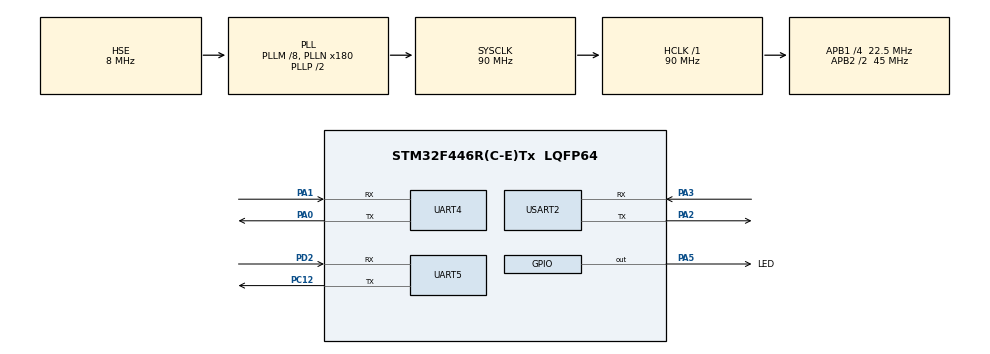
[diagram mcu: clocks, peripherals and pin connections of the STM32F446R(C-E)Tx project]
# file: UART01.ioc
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Dma.Request0=UART4_RX
Dma.Request1=UART5_TX
Dma.UART4_RX.0.Direction=DMA_PERIPH_TO_MEMORY
Dma.UART4_RX.0.FIFOMode=DMA_FIFOMODE_DISABLE
Dma.UART4_RX.0.Instance=DMA1_Stream2
Dma.UART4_RX.0.MemDataAlignment=DMA_MDATAALIGN_BYTE
Dma.UART4_RX.0.MemInc=DMA_MINC_ENABLE
Dma.UART4_RX.0.Mode=DMA_CIRCULAR
Dma.UART4_RX.0.PeriphDataAlignment=DMA_PDATAALIGN_BYTE
Dma.UART4_RX.0.PeriphInc=DMA_PINC_DISABLE
Dma.UART4_RX.0.Priority=DMA_PRIORITY_LOW
Dma.UART5_TX.1.Direction=DMA_MEMORY_TO_PERIPH
Dma.UART5_TX.1.FIFOMode=DMA_FIFOMODE_DISABLE
Dma.UART5_TX.1.Instance=DMA1_Stream7
Dma.UART5_TX.1.MemDataAlignment=DMA_MDATAALIGN_BYTE
Dma.UART5_TX.1.MemInc=DMA_MINC_ENABLE
Dma.UART5_TX.1.Mode=DMA_CIRCULAR
Dma.UART5_TX.1.PeriphDataAlignment=DMA_PDATAALIGN_BYTE
Dma.UART5_TX.1.PeriphInc=DMA_PINC_DISABLE
Dma.UART5_TX.1.Priority=DMA_PRIORITY_LOW
Mcu.Family=STM32F4
Mcu.Name=STM32F446R(C-E)Tx
Mcu.Package=LQFP64
NVIC.DMA1_Stream2_IRQn=true\:0\:0\:false\:false\:true\:false\:true\:true
NVIC.DMA1_Stream7_IRQn=true\:0\:0\:false\:false\:true\:false\:true\:true
NVIC.PriorityGroup=NVIC_PRIORITYGROUP_4
NVIC.TIM6_DAC_IRQn=true\:0\:0\:false\:false\:true\:true\:true\:true
NVIC.UART4_IRQn=true\:0\:0\:false\:false\:true\:true\:true\:true
NVIC.UART5_IRQn=true\:0\:0\:false\:false\:true\:false\:true\:true
PA0-WKUP.Mode=Asynchronous
PA0-WKUP.Signal=UART4_TX
PA1.Mode=Asynchronous
PA1.Signal=UART4_RX
PA13.Mode=Serial_Wire
PA13.Signal=SYS_JTMS-SWDIO
PA14.Mode=Serial_Wire
PA14.Signal=SYS_JTCK-SWCLK
PA2.Mode=Asynchronous
PA2.Signal=USART2_TX
PA3.Mode=Asynchronous
PA3.Signal=USART2_RX
PA5.GPIO_Label=LED
PA5.Signal=GPIO_Output
PC12.Mode=Asynchronous
PC12.Signal=UART5_TX
PD2.Mode=Asynchronous
PD2.Signal=UART5_RX
PH0-OSC_IN.Mode=HSE-External-Clock-Source
PH0-OSC_IN.Signal=RCC_OSC_IN
PH1-OSC_OUT.Mode=HSE-External-Clock-Source
PH1-OSC_OUT.Signal=RCC_OSC_OUT
ProjectManager.HeapSize=0x200
ProjectManager.StackSize=0x400
ProjectManager.TargetToolchain=STM32CubeIDE
RCC.AHBFreq_Value=90000000
RCC.APB1CLKDivider=RCC_HCLK_DIV4
RCC.APB1Freq_Value=22500000
RCC.APB1TimFreq_Value=45000000
RCC.APB2CLKDivider=RCC_HCLK_DIV2
RCC.APB2Freq_Value=45000000
RCC.APB2TimFreq_Value=90000000
RCC.CortexFreq_Value=90000000
RCC.HCLKFreq_Value=90000000
RCC.HSE_VALUE=8000000
RCC.PLLM=8
RCC.PLLN=180
RCC.PLLSourceVirtual=RCC_PLLSOURCE_HSE
RCC.SYSCLKFreq_VALUE=90000000
RCC.SYSCLKSource=RCC_SYSCLKSOURCE_PLLCLK
RCC.USBFreq_Value=90000000
RCC.VCOOutputFreq_Value=180000000
TIM6.Period=30000-1
TIM6.Prescaler=45-1
UART4.VirtualMode=Asynchronous
UART5.VirtualMode=Asynchronous
USART2.VirtualMode=VM_ASYNC
VP_TIM6_VS_ClockSourceINT.Mode=Enable_Timer
board=custom

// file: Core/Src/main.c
/* USER CODE BEGIN Header */
/**
 ******************************************************************************
 * @file           : main.c
 * @brief          : Main program body
 ******************************************************************************
 * @attention
 *
 * Copyright (c) 2026 STMicroelectronics.
 * All rights reserved.
 *
 * This software is licensed under terms that can be found in the LICENSE file
 * in the root directory of this software component.
 * If no LICENSE file comes with this software, it is provided AS-IS.
 *
 ******************************************************************************
 */

// UART2 is used for the write function
// We send data on UART 5 and receive it on UART4.
// The transmit wire of UART5 (PC12) is connected to the receive wire of UART4 (PA1).
/* USER CODE END Header */
#include "main.h"

/* USER CODE BEGIN Includes */
#include <stdio.h>
#include <string.h>
/* USER CODE END Includes */

/* USER CODE BEGIN PD */
#define BUFFER_SIZE 64
/* USER CODE END PD */

TIM_HandleTypeDef htim6;

UART_HandleTypeDef huart4;
UART_HandleTypeDef huart5;
UART_HandleTypeDef huart2;
DMA_HandleTypeDef hdma_uart4_rx;
DMA_HandleTypeDef hdma_uart5_tx;

/* USER CODE BEGIN PV */
char transmit_buffer[BUFFER_SIZE];
char receive_buffer[BUFFER_SIZE];
uint8_t dma_buffer[BUFFER_SIZE];
/* USER CODE END PV */

void SystemClock_Config(void);
static void MX_GPIO_Init(void);
static void MX_DMA_Init(void);
static void MX_USART2_UART_Init(void);
static void MX_UART4_Init(void);
static void MX_UART5_Init(void);
static void MX_TIM6_Init(void);

/* USER CODE BEGIN 0 */
int _write(int file, char *ptr, int len)
{
	if (file == 1)
	{
		HAL_StatusTypeDef hstatus = HAL_UART_Transmit(&huart2, (uint8_t*) ptr, len, HAL_MAX_DELAY);

		if (hstatus == HAL_OK)
		{
			return len;
		}

		return -1;
	}
	else if (file == 2)
	{
		for (int i = 0; i < len; i++)
		{
			// This can be used when debugging
			ITM_SendChar(ptr[i]);
		}
		return len;
	}
	else
	{
		return -1;
	}
}

void HAL_TIM_PeriodElapsedCallback(TIM_HandleTypeDef *htim)
{
	if (htim->Instance == TIM6)
	{
		HAL_GPIO_WritePin(LED_GPIO_Port, LED_Pin, GPIO_PIN_SET); // Turn off LED

		HAL_TIM_Base_Stop(&htim6); // Kill the timer
	}
}

void led_flash()
{
	HAL_GPIO_WritePin(LED_GPIO_Port, LED_Pin, GPIO_PIN_RESET); // Turn on LED

	if (__HAL_TIM_GET_COUNTER(&htim6) == 1)
	{
		HAL_TIM_Base_Start_IT(&htim6); // Start Counter. The IT means it will trigger an Interrupt.
	}
	else
	{ // Timer is already running
		__HAL_TIM_SET_COUNTER(&htim6, 1);
	}
}

void process_character(char ch)
{
	static uint32_t strlen = 0;

	switch (ch)
	{
	case '\0':
		printf("Received    :%s\r\n", receive_buffer);
		receive_buffer[0] = '\0';
		strlen = 0;
		break;
	default:
		if (strlen < BUFFER_SIZE)
		{
			strncat((char*) &receive_buffer, &ch, 1); // Danger
			++strlen;
		}
	}
}

void HAL_UARTEx_RxEventCallback(UART_HandleTypeDef *huart, uint16_t offset)
{
	static uint16_t last_offset = 0; // Declared once and set to 0. Next time we enter this function, we will read the value, but not reset it to 0. In c# we cannot declare a variable as static in a function.

	if (huart->Instance == UART4)
	{

		led_flash();
		//printf("Offset: %d\r\n", offset);

		// Ignore if called 2x-happens every half buffer
		if (offset != last_offset)
		{
			// of wrap around reset last_size
			if (offset < last_offset)
			{
				last_offset = 0;
			}

			while (last_offset < offset)
			{
				process_character((char) dma_buffer[last_offset]);
				++last_offset;
			}
		}
	}
}

void HAL_UART_ErrorCallback(UART_HandleTypeDef *huart)
{
	printf("UART Error\r\n");
	Error_Handler();
}

/* USER CODE END 0 */

int main(void)
{

  /* MCU Configuration--------------------------------------------------------*/

  /* Reset of all peripherals, Initializes the Flash interface and the Systick. */
  HAL_Init();

  /* Configure the system clock */
  SystemClock_Config();

  /* Initialize all configured peripherals */
  MX_GPIO_Init();
  MX_DMA_Init();
  MX_USART2_UART_Init();
  MX_UART4_Init();
  MX_UART5_Init();
  MX_TIM6_Init();
  /* USER CODE BEGIN 2 */

	// FYI: printf() always prints to file descriptor 1, which is the standard output.
	printf("\r\n\r\n\r\nStarting UART01...\r\n");

	// fprintf() on the other hand lets you choose the file descriptor
	// This line is exactly the same as the printf above
	fprintf(stdout, "-----------------------------------\r\n");

	// We could also send it to stderror
	fprintf(stderr, "\r\nNot Actually an Error\r\n");

	HAL_UARTEx_ReceiveToIdle_DMA(&huart4, (uint8_t*) &dma_buffer, BUFFER_SIZE);
  /* USER CODE END 2 */

  /* Infinite loop */
  /* USER CODE BEGIN WHILE */

	uint32_t now = 0;
	uint32_t loop_cnt = 0;
	uint32_t next_blink = 500;
	uint32_t next_tick = 1000;
	uint32_t next_tx = 1000;
	uint32_t tx_cnt = 1;

	while (1)
	{
		now = uwTick; // number of milliseconds since power on or reset

		if (now >= next_blink)
		{
			//HAL_GPIO_TogglePin(LED_GPIO_Port, LED_Pin);

			next_blink = now + 500;

		}

		if (now >= next_tick)
		{
			printf("Tick: %lu (Loop Count: %lu)\r\n", now / 1000, loop_cnt);
			//fprintf(stderr, "Tick: %lu (Loop Count: %lu)\r\n", now / 1000, loop_cnt);

			loop_cnt = 0;

			next_tick = now + 1000;
		}

		if (now >= next_tx)
		{
			sprintf(transmit_buffer, "This is a long string with a number %lu", tx_cnt);

			printf("Transmitting: %s\r\n", transmit_buffer);

			HAL_UART_Transmit(&huart5, (uint8_t*) &transmit_buffer, strlen(transmit_buffer) + 1, HAL_MAX_DELAY);

			++tx_cnt;
			next_tx = now + 1000;
		}

		++loop_cnt;

    /* USER CODE END WHILE */

	}
}

void SystemClock_Config(void)
{
  RCC_OscInitTypeDef RCC_OscInitStruct = {0};
  RCC_ClkInitTypeDef RCC_ClkInitStruct = {0};

  /** Configure the main internal regulator output voltage
  */
  __HAL_RCC_PWR_CLK_ENABLE();
  __HAL_PWR_VOLTAGESCALING_CONFIG(PWR_REGULATOR_VOLTAGE_SCALE3);

  /** Initializes the RCC Oscillators according to the specified parameters
  * in the RCC_OscInitTypeDef structure.
  */
  RCC_OscInitStruct.OscillatorType = RCC_OSCILLATORTYPE_HSE;
  RCC_OscInitStruct.HSEState = RCC_HSE_BYPASS;
  RCC_OscInitStruct.PLL.PLLState = RCC_PLL_ON;
  RCC_OscInitStruct.PLL.PLLSource = RCC_PLLSOURCE_HSE;
  RCC_OscInitStruct.PLL.PLLM = 8;
  RCC_OscInitStruct.PLL.PLLN = 180;
  RCC_OscInitStruct.PLL.PLLP = RCC_PLLP_DIV2;
  RCC_OscInitStruct.PLL.PLLQ = 2;
  RCC_OscInitStruct.PLL.PLLR = 2;
  if (HAL_RCC_OscConfig(&RCC_OscInitStruct) != HAL_OK)
  {
    Error_Handler();
  }

  /** Initializes the CPU, AHB and APB buses clocks
  */
  RCC_ClkInitStruct.ClockType = RCC_CLOCKTYPE_HCLK|RCC_CLOCKTYPE_SYSCLK
                              |RCC_CLOCKTYPE_PCLK1|RCC_CLOCKTYPE_PCLK2;
  RCC_ClkInitStruct.SYSCLKSource = RCC_SYSCLKSOURCE_PLLCLK;
  RCC_ClkInitStruct.AHBCLKDivider = RCC_SYSCLK_DIV1;
  RCC_ClkInitStruct.APB1CLKDivider = RCC_HCLK_DIV4;
  RCC_ClkInitStruct.APB2CLKDivider = RCC_HCLK_DIV2;

  if (HAL_RCC_ClockConfig(&RCC_ClkInitStruct, FLASH_LATENCY_2) != HAL_OK)
  {
    Error_Handler();
  }
}

static void MX_TIM6_Init(void)
{

  TIM_MasterConfigTypeDef sMasterConfig = {0};

  htim6.Instance = TIM6;
  htim6.Init.Prescaler = 45-1;
  htim6.Init.CounterMode = TIM_COUNTERMODE_UP;
  htim6.Init.Period = 30000-1;
  htim6.Init.AutoReloadPreload = TIM_AUTORELOAD_PRELOAD_DISABLE;
  if (HAL_TIM_Base_Init(&htim6) != HAL_OK)
  {
    Error_Handler();
  }
  sMasterConfig.MasterOutputTrigger = TIM_TRGO_RESET;
  sMasterConfig.MasterSlaveMode = TIM_MASTERSLAVEMODE_DISABLE;
  if (HAL_TIMEx_MasterConfigSynchronization(&htim6, &sMasterConfig) != HAL_OK)
  {
    Error_Handler();
  }

}

static void MX_UART4_Init(void)
{

  huart4.Instance = UART4;
  huart4.Init.BaudRate = 115200;
  huart4.Init.WordLength = UART_WORDLENGTH_8B;
  huart4.Init.StopBits = UART_STOPBITS_1;
  huart4.Init.Parity = UART_PARITY_NONE;
  huart4.Init.Mode = UART_MODE_TX_RX;
  huart4.Init.HwFlowCtl = UART_HWCONTROL_NONE;
  huart4.Init.OverSampling = UART_OVERSAMPLING_16;
  if (HAL_UART_Init(&huart4) != HAL_OK)
  {
    Error_Handler();
  }

}

static void MX_UART5_Init(void)
{

  huart5.Instance = UART5;
  huart5.Init.BaudRate = 115200;
  huart5.Init.WordLength = UART_WORDLENGTH_8B;
  huart5.Init.StopBits = UART_STOPBITS_1;
  huart5.Init.Parity = UART_PARITY_NONE;
  huart5.Init.Mode = UART_MODE_TX_RX;
  huart5.Init.HwFlowCtl = UART_HWCONTROL_NONE;
  huart5.Init.OverSampling = UART_OVERSAMPLING_16;
  if (HAL_UART_Init(&huart5) != HAL_OK)
  {
    Error_Handler();
  }

}

static void MX_USART2_UART_Init(void)
{

  huart2.Instance = USART2;
  huart2.Init.BaudRate = 115200;
  huart2.Init.WordLength = UART_WORDLENGTH_8B;
  huart2.Init.StopBits = UART_STOPBITS_1;
  huart2.Init.Parity = UART_PARITY_NONE;
  huart2.Init.Mode = UART_MODE_TX_RX;
  huart2.Init.HwFlowCtl = UART_HWCONTROL_NONE;
  huart2.Init.OverSampling = UART_OVERSAMPLING_16;
  if (HAL_UART_Init(&huart2) != HAL_OK)
  {
    Error_Handler();
  }

}

static void MX_DMA_Init(void)
{

  /* DMA controller clock enable */
  __HAL_RCC_DMA1_CLK_ENABLE();

  /* DMA interrupt init */
  /* DMA1_Stream2_IRQn interrupt configuration */
  HAL_NVIC_SetPriority(DMA1_Stream2_IRQn, 0, 0);
  HAL_NVIC_EnableIRQ(DMA1_Stream2_IRQn);
  /* DMA1_Stream7_IRQn interrupt configuration */
  HAL_NVIC_SetPriority(DMA1_Stream7_IRQn, 0, 0);
  HAL_NVIC_EnableIRQ(DMA1_Stream7_IRQn);

}

static void MX_GPIO_Init(void)
{
  GPIO_InitTypeDef GPIO_InitStruct = {0};

  /* GPIO Ports Clock Enable */
  __HAL_RCC_GPIOH_CLK_ENABLE();
  __HAL_RCC_GPIOA_CLK_ENABLE();
  __HAL_RCC_GPIOC_CLK_ENABLE();
  __HAL_RCC_GPIOD_CLK_ENABLE();

  /*Configure GPIO pin Output Level */
  HAL_GPIO_WritePin(LED_GPIO_Port, LED_Pin, GPIO_PIN_RESET);

  /*Configure GPIO pin : LED_Pin */
  GPIO_InitStruct.Pin = LED_Pin;
  GPIO_InitStruct.Mode = GPIO_MODE_OUTPUT_PP;
  GPIO_InitStruct.Pull = GPIO_NOPULL;
  GPIO_InitStruct.Speed = GPIO_SPEED_FREQ_LOW;
  HAL_GPIO_Init(LED_GPIO_Port, &GPIO_InitStruct);

}

void Error_Handler(void)
{
	__disable_irq();
	while (1)
	{
	}
}
